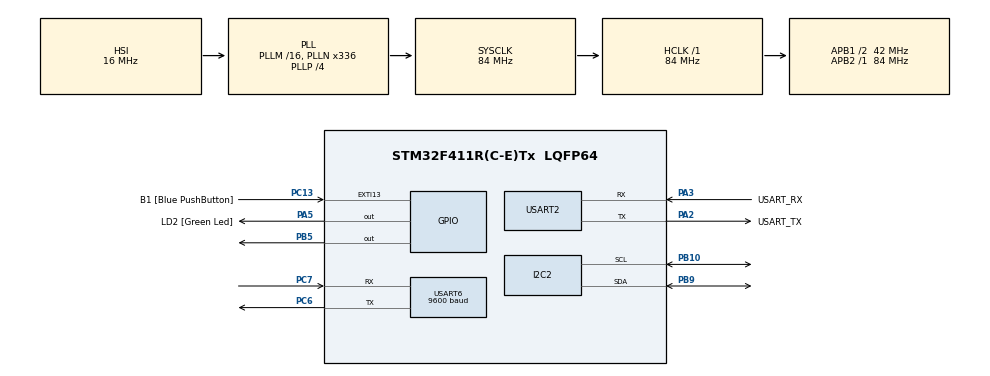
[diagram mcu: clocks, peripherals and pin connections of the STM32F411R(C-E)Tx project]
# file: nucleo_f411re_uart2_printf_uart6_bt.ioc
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Mcu.Family=STM32F4
Mcu.Name=STM32F411R(C-E)Tx
Mcu.Package=LQFP64
NVIC.PriorityGroup=NVIC_PRIORITYGROUP_0
NVIC.USART2_IRQn=true\:0\:0\:false\:false\:true\:true\:true\:true
NVIC.USART6_IRQn=true\:0\:0\:false\:false\:true\:true\:true\:true
PA13.GPIO_Label=TMS
PA13.Mode=Serial_Wire
PA13.Signal=SYS_JTMS-SWDIO
PA14.GPIO_Label=TCK
PA14.Mode=Serial_Wire
PA14.Signal=SYS_JTCK-SWCLK
PA2.GPIO_Label=USART_TX
PA2.Mode=Asynchronous
PA2.Signal=USART2_TX
PA3.GPIO_Label=USART_RX
PA3.Mode=Asynchronous
PA3.Signal=USART2_RX
PA5.GPIO_Label=LD2 [Green Led]
PA5.Signal=GPIO_Output
PB10.Mode=I2C
PB10.Signal=I2C2_SCL
PB3.GPIO_Label=SWO
PB3.Signal=SYS_JTDO-SWO
PB5.Signal=GPIO_Output
PB9.Mode=I2C
PB9.Signal=I2C2_SDA
PC13-ANTI_TAMP.GPIO_Label=B1 [Blue PushButton]
PC13-ANTI_TAMP.GPIO_ModeDefaultEXTI=GPIO_MODE_IT_FALLING
PC13-ANTI_TAMP.Signal=GPXTI13
PC14-OSC32_IN.Mode=LSE-External-Oscillator
PC14-OSC32_IN.Signal=RCC_OSC32_IN
PC15-OSC32_OUT.Mode=LSE-External-Oscillator
PC15-OSC32_OUT.Signal=RCC_OSC32_OUT
PC6.Mode=Asynchronous
PC6.Signal=USART6_TX
PC7.Mode=Asynchronous
PC7.Signal=USART6_RX
PH0\ -\ OSC_IN.Mode=HSE-External-Clock-Source
PH0\ -\ OSC_IN.Signal=RCC_OSC_IN
PH1\ -\ OSC_OUT.Mode=HSE-External-Clock-Source
PH1\ -\ OSC_OUT.Signal=RCC_OSC_OUT
ProjectManager.HeapSize=0x200
ProjectManager.StackSize=0x400
ProjectManager.TargetToolchain=STM32CubeIDE
RCC.48MHZClocksFreq_Value=84000000
RCC.AHBFreq_Value=84000000
RCC.APB1CLKDivider=RCC_HCLK_DIV2
RCC.APB1Freq_Value=42000000
RCC.APB1TimFreq_Value=84000000
RCC.APB2Freq_Value=84000000
RCC.APB2TimFreq_Value=84000000
RCC.CortexFreq_Value=84000000
RCC.FLatency-AdvancedSettings=FLASH_LATENCY_2
RCC.HCLKFreq_Value=84000000
RCC.HSE_VALUE=8000000
RCC.HSI_VALUE=16000000
RCC.PLLN=336
RCC.PLLP=RCC_PLLP_DIV4
RCC.SYSCLKFreq_VALUE=84000000
RCC.SYSCLKSource=RCC_SYSCLKSOURCE_PLLCLK
RCC.VCOOutputFreq_Value=336000000
USART2.VirtualMode=VM_ASYNC
USART6.BaudRate=9600
USART6.VirtualMode=VM_ASYNC
board=NUCLEO-F411RE

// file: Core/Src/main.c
/* USER CODE BEGIN Header */
/**
 ******************************************************************************
 * @file           : main.c
 * @brief          : Main program body
 ******************************************************************************
 * @attention
 *
 * Copyright (c) 2024 STMicroelectronics.
 * All rights reserved.
 *
 * This software is licensed under terms that can be found in the LICENSE file
 * in the root directory of this software component.
 * If no LICENSE file comes with this software, it is provided AS-IS.
 *
 ******************************************************************************
 */
/* USER CODE END Header */
#include "main.h"
#include "my_lcd.h"
/* USER CODE BEGIN Includes */
#include <stdio.h>
#include <stdlib.h>
#include <string.h>
/* USER CODE END Includes */

/* USER CODE BEGIN PD */
#ifdef __GNUC__
/* With GCC, small printf (option LD Linker->Libraries->Small printf
 set to 'Yes') calls __io_putchar() */
#define PUTCHAR_PROTOTYPE int __io_putchar(int ch)
#else
#define PUTCHAR_PROTOTYPE int fputc(int ch, FILE *f)
#endif /* __GNUC__ */
#define ARR_CNT 15
#define CMD_SIZE 50
#define LED_PIN GPIO_PIN_5
#define LED_PORT GPIOB
uint8_t ledBlinkState = 0;      // LED 깜박임 상태
uint32_t ledBlinkStart = 0;     // LED 깜박 시작 시간
uint32_t lastBlinkTick = 0;     // 마지막 토글 시간
#define BLINK_INTERVAL 1000     // 1초 간격
#define BLINK_DURATION 5000     // 5초 동안 깜박임

#define BLINK_INTERVAL 500
/* USER CODE END PD */

I2C_HandleTypeDef hi2c2;

UART_HandleTypeDef huart2;
UART_HandleTypeDef huart6;

/* USER CODE BEGIN PV */
volatile unsigned char btFlag = 0;
uint8_t btchar;
char btData[50];
volatile uint32_t lastTick = 0;
/* USER CODE END PV */

void SystemClock_Config(void);
static void MX_GPIO_Init(void);
static void MX_USART2_UART_Init(void);
static void MX_USART6_UART_Init(void);
static void MX_I2C2_Init(void);
/* USER CODE BEGIN PFP */
void bluetooth_Event();
void loop_LED_Blink();
/* USER CODE END PFP */

int main(void)
{

  /* MCU Configuration--------------------------------------------------------*/

  /* Reset of all peripherals, Initializes the Flash interface and the Systick. */
  HAL_Init();

  /* Configure the system clock */
  SystemClock_Config();

  /* Initialize all configured peripherals */
  MX_GPIO_Init();
  MX_USART2_UART_Init();
  MX_USART6_UART_Init();
  MX_I2C2_Init();
  /* USER CODE BEGIN 2 */

		lcd_init(&hi2c2);

		lcd_clear();
		HAL_Delay(50);
		lcd_set_cursor(0, 0);
		lcd_send_string("ROOM:");

		HAL_UART_Receive_IT(&huart6, &btchar, 1);
  /* USER CODE END 2 */

  /* Infinite loop */
  /* USER CODE BEGIN WHILE */
	while (1) {

		if (btFlag) {
			btFlag = 0;
			bluetooth_Event();

		}
		loop_LED_Blink();

		if (HAL_GetTick() - lastTick >= 500) {
			const char req[] = "[KGH_SQL]GETDB@ROOM@1\r\n";
			HAL_StatusTypeDef st = HAL_UART_Transmit(&huart6, (uint8_t*) req,
					sizeof(req) - 1, 1000);
			lastTick = HAL_GetTick();
		}
    /* USER CODE END WHILE */

	}
}

void SystemClock_Config(void)
{
  RCC_OscInitTypeDef RCC_OscInitStruct = {0};
  RCC_ClkInitTypeDef RCC_ClkInitStruct = {0};

  /** Configure the main internal regulator output voltage
  */
  __HAL_RCC_PWR_CLK_ENABLE();
  __HAL_PWR_VOLTAGESCALING_CONFIG(PWR_REGULATOR_VOLTAGE_SCALE1);

  /** Initializes the RCC Oscillators according to the specified parameters
  * in the RCC_OscInitTypeDef structure.
  */
  RCC_OscInitStruct.OscillatorType = RCC_OSCILLATORTYPE_HSI;
  RCC_OscInitStruct.HSIState = RCC_HSI_ON;
  RCC_OscInitStruct.HSICalibrationValue = RCC_HSICALIBRATION_DEFAULT;
  RCC_OscInitStruct.PLL.PLLState = RCC_PLL_ON;
  RCC_OscInitStruct.PLL.PLLSource = RCC_PLLSOURCE_HSI;
  RCC_OscInitStruct.PLL.PLLM = 16;
  RCC_OscInitStruct.PLL.PLLN = 336;
  RCC_OscInitStruct.PLL.PLLP = RCC_PLLP_DIV4;
  RCC_OscInitStruct.PLL.PLLQ = 4;
  if (HAL_RCC_OscConfig(&RCC_OscInitStruct) != HAL_OK)
  {
    Error_Handler();
  }

  /** Initializes the CPU, AHB and APB buses clocks
  */
  RCC_ClkInitStruct.ClockType = RCC_CLOCKTYPE_HCLK|RCC_CLOCKTYPE_SYSCLK
                              |RCC_CLOCKTYPE_PCLK1|RCC_CLOCKTYPE_PCLK2;
  RCC_ClkInitStruct.SYSCLKSource = RCC_SYSCLKSOURCE_PLLCLK;
  RCC_ClkInitStruct.AHBCLKDivider = RCC_SYSCLK_DIV1;
  RCC_ClkInitStruct.APB1CLKDivider = RCC_HCLK_DIV2;
  RCC_ClkInitStruct.APB2CLKDivider = RCC_HCLK_DIV1;

  if (HAL_RCC_ClockConfig(&RCC_ClkInitStruct, FLASH_LATENCY_2) != HAL_OK)
  {
    Error_Handler();
  }
}

static void MX_I2C2_Init(void)
{

  hi2c2.Instance = I2C2;
  hi2c2.Init.ClockSpeed = 100000;
  hi2c2.Init.DutyCycle = I2C_DUTYCYCLE_2;
  hi2c2.Init.OwnAddress1 = 0;
  hi2c2.Init.AddressingMode = I2C_ADDRESSINGMODE_7BIT;
  hi2c2.Init.DualAddressMode = I2C_DUALADDRESS_DISABLE;
  hi2c2.Init.OwnAddress2 = 0;
  hi2c2.Init.GeneralCallMode = I2C_GENERALCALL_DISABLE;
  hi2c2.Init.NoStretchMode = I2C_NOSTRETCH_DISABLE;
  if (HAL_I2C_Init(&hi2c2) != HAL_OK)
  {
    Error_Handler();
  }

}

static void MX_USART2_UART_Init(void)
{

  huart2.Instance = USART2;
  huart2.Init.BaudRate = 115200;
  huart2.Init.WordLength = UART_WORDLENGTH_8B;
  huart2.Init.StopBits = UART_STOPBITS_1;
  huart2.Init.Parity = UART_PARITY_NONE;
  huart2.Init.Mode = UART_MODE_TX_RX;
  huart2.Init.HwFlowCtl = UART_HWCONTROL_NONE;
  huart2.Init.OverSampling = UART_OVERSAMPLING_16;
  if (HAL_UART_Init(&huart2) != HAL_OK)
  {
    Error_Handler();
  }

}

static void MX_USART6_UART_Init(void)
{

  huart6.Instance = USART6;
  huart6.Init.BaudRate = 9600;
  huart6.Init.WordLength = UART_WORDLENGTH_8B;
  huart6.Init.StopBits = UART_STOPBITS_1;
  huart6.Init.Parity = UART_PARITY_NONE;
  huart6.Init.Mode = UART_MODE_TX_RX;
  huart6.Init.HwFlowCtl = UART_HWCONTROL_NONE;
  huart6.Init.OverSampling = UART_OVERSAMPLING_16;
  if (HAL_UART_Init(&huart6) != HAL_OK)
  {
    Error_Handler();
  }

}

static void MX_GPIO_Init(void)
{
  GPIO_InitTypeDef GPIO_InitStruct = {0};

  /* GPIO Ports Clock Enable */
  __HAL_RCC_GPIOC_CLK_ENABLE();
  __HAL_RCC_GPIOH_CLK_ENABLE();
  __HAL_RCC_GPIOA_CLK_ENABLE();
  __HAL_RCC_GPIOB_CLK_ENABLE();

  /*Configure GPIO pin Output Level */
  HAL_GPIO_WritePin(LD2_GPIO_Port, LD2_Pin, GPIO_PIN_RESET);

  /*Configure GPIO pin Output Level */
  HAL_GPIO_WritePin(GPIOB, GPIO_PIN_5, GPIO_PIN_RESET);

  /*Configure GPIO pin : B1_Pin */
  GPIO_InitStruct.Pin = B1_Pin;
  GPIO_InitStruct.Mode = GPIO_MODE_IT_FALLING;
  GPIO_InitStruct.Pull = GPIO_NOPULL;
  HAL_GPIO_Init(B1_GPIO_Port, &GPIO_InitStruct);

  /*Configure GPIO pin : LD2_Pin */
  GPIO_InitStruct.Pin = LD2_Pin;
  GPIO_InitStruct.Mode = GPIO_MODE_OUTPUT_PP;
  GPIO_InitStruct.Pull = GPIO_NOPULL;
  GPIO_InitStruct.Speed = GPIO_SPEED_FREQ_LOW;
  HAL_GPIO_Init(LD2_GPIO_Port, &GPIO_InitStruct);

  /*Configure GPIO pin : PB5 */
  GPIO_InitStruct.Pin = GPIO_PIN_5;
  GPIO_InitStruct.Mode = GPIO_MODE_OUTPUT_PP;
  GPIO_InitStruct.Pull = GPIO_NOPULL;
  GPIO_InitStruct.Speed = GPIO_SPEED_FREQ_LOW;
  HAL_GPIO_Init(GPIOB, &GPIO_InitStruct);

}

/* USER CODE BEGIN 4 */
void MX_GPIO_LED_ON(int pin) {
	HAL_GPIO_WritePin(LD2_GPIO_Port, pin, GPIO_PIN_SET);
}
void MX_GPIO_LED_OFF(int pin) {
	HAL_GPIO_WritePin(LD2_GPIO_Port, pin, GPIO_PIN_RESET);
}
void loop_LED_Blink(){
	 if (ledBlinkState) {
	        uint32_t now = HAL_GetTick();

	        // 5초 동안 깜박임
	        if (now - ledBlinkStart <= BLINK_DURATION) {
	            if (now - lastBlinkTick >= BLINK_INTERVAL) {
	                HAL_GPIO_TogglePin(LED_PORT, LED_PIN);
	                lastBlinkTick = now;
	            }
	        } else {
	            // 5초 지나면 LED 끄기
	            HAL_GPIO_WritePin(LED_PORT, LED_PIN, GPIO_PIN_RESET);
	            ledBlinkState = 0;
	        }
	    }
}
void bluetooth_Event() {

	int i = 0;
	char *pToken;
	char *pArray[ARR_CNT] = { 0 };
	char recvBuf[CMD_SIZE] = { 0 };
	strcpy(recvBuf, btData);

	pToken = strtok(recvBuf, "[@]");
	while (pToken != NULL) {
		pArray[i] = pToken;
		if (++i >= ARR_CNT)
			break;
		pToken = strtok(NULL, "[@]");
	}
	if (i >= 4 && strcmp(pArray[1], "GETDB") == 0
			&& strcmp(pArray[2], "ROOM") == 0) {
		int gas = -1, fire = -1, sound = -1;

		// 키-값 쌍 순회하며 값 저장
		 for (int j = 2; j < i - 1; j += 2) {
		            if (strcmp(pArray[j], "GAS") == 0) {
		                gas = atoi(pArray[j + 1]);
		            } else if (strcmp(pArray[j], "FIRE") == 0) {
		                fire = atoi(pArray[j + 1]);
		            } else if (strcmp(pArray[j], "SOUND") == 0) {
		                sound = atoi(pArray[j + 1]);
		            }
		        }

		        // LCD 출력 조건

		 int condition = 0;

		         if (gas > 400) {
		             lcd_set_cursor(1, 7);
		             lcd_send_string("1_G");
		             condition = 1;
		         }
		         if (fire > 100) {
		             lcd_set_cursor(0, 7);
		             lcd_send_string("1_F");
		             condition = 1;
		         }
		         if (sound > 700) {
		             lcd_set_cursor(0, 11);
		             lcd_send_string("1_S");
		             condition = 1;
		         }

		         if (condition) {
		             // LED 깜박임 시작
		             ledBlinkState = 1;
		             ledBlinkStart = HAL_GetTick();
		             lastBlinkTick = HAL_GetTick();
		         } else {
		             // 조건 만족 안 하면 LCD 초기화 후 기본 표시
		             lcd_clear();
		             lcd_set_cursor(0, 0);
		             lcd_send_string("ROOM:");

		             // LED 끄기
		             HAL_GPIO_WritePin(LED_PORT, LED_PIN, GPIO_PIN_RESET);
		             ledBlinkState = 0;
		         }

		     if(gas>400){
		 	lcd_set_cursor(1, 7);
		 				lcd_send_string("1_G");

		 }
		 else{
			 lcd_set_cursor(1,7);
			 lcd_send_string("   ");
		 }
		 		// LCD 출력 조건

		// LCD 출력 조건
		if (fire<100) {

			lcd_set_cursor(0, 7);
			lcd_send_string("1_F");

		} else{
			 lcd_set_cursor(0,7);
			 lcd_send_string("   ");
		 }
		if (sound>700) {

			lcd_set_cursor(0, 11);
			lcd_send_string("1_S");

		} else{
			 lcd_set_cursor(0,11);
			 lcd_send_string("   ");
		 }
		if ((gas > 400) || (fire < 100) || (sound>700)) {
		            ledBlinkState = 1;
		            ledBlinkStart = HAL_GetTick();   // 현재 시간 저장
		            lastBlinkTick = HAL_GetTick();   // 토글 초기화
		        }

}

}
/**
 * @brief  Retargets the C library printf function to the USART.
 * @param  None
 * @retval None
 */
PUTCHAR_PROTOTYPE {
	/* Place your implementation of fputc here */
	/* e.g. write a character to the USART6 and Loop until the end of transmission */
	HAL_UART_Transmit(&huart2, (uint8_t*) &ch, 1, 0xFFFF);

	return ch;
}
void HAL_UART_RxCpltCallback(UART_HandleTypeDef *huart) {
	if (huart->Instance == USART6) {
		static int i = 0;
		btData[i] = btchar;
		if ((btData[i] == '\n') || btData[i] == '\r') {
			btData[i] = '\0';
			btFlag = 1;
			i = 0;
		} else {
			i++;
		}
		HAL_UART_Receive_IT(&huart6, &btchar, 1);
	}
}
/* USER CODE END 4 */

void Error_Handler(void)
{
	__disable_irq();
	while (1) {
	}
}
